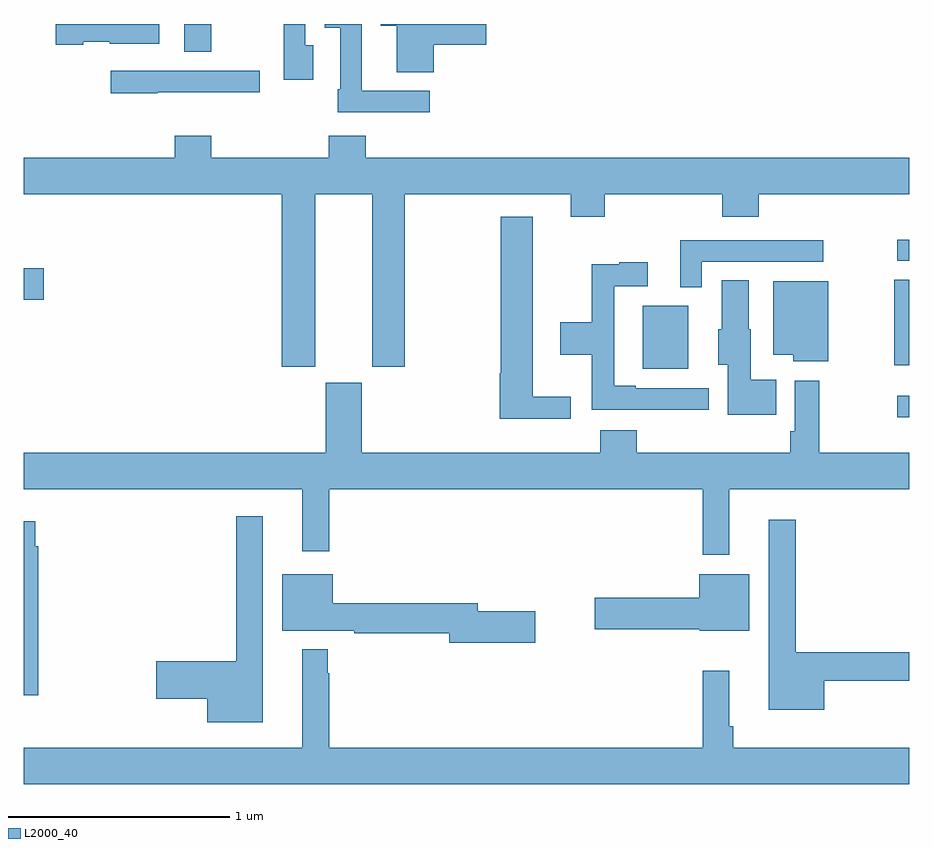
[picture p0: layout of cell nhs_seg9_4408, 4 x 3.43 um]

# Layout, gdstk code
import gdstk
lib = gdstk.Library(unit=1e-6, precision=1e-09)
def R(c, l, rs):  # rectangles x0, y0, x1, y1
    for r in rs: c.add(gdstk.rectangle(r[:2], r[2:], *l))
def P(c, l, *ps):  # polygons
    for p in ps: c.add(gdstk.Polygon(p, *l))
L2000_40 = (2000, 40)

nhs_seg9_4408 = lib.new_cell('nhs_seg9_4408')
R(nhs_seg9_4408, L2000_40, [(366.945,1216.724,367,1216.822), (365.795,1216.943,366.001,1217.227), (366.931,1216.958,367,1217.345), (363,1217.255,363.091,1217.397), (366.945,1217.43,367,1217.526), (363.725,1218.375,363.847,1218.5)])
P(nhs_seg9_4408, L2000_40, [(364.853,1218.407),(365.089,1218.407),(365.089,1218.5),(364.612,1218.5),(364.612,1218.491),(364.685,1218.491),(364.685,1218.283),(364.853,1218.283)],
  [(363.27,1218.419),(363.39,1218.419),(363.39,1218.41),(363.613,1218.41),(363.613,1218.5),(363.145,1218.5),(363.145,1218.407),(363.27,1218.407)],
  [(364.834,1218.198),(364.528,1218.198),(364.528,1218.395),(364.527,1218.395),(364.527,1218.5),(364.361,1218.5),(364.361,1218.484),(364.431,1218.484),(364.431,1218.205),(364.419,1218.205),(364.419,1218.102),(364.834,1218.102)],
  [(364.309,1218.405),(364.272,1218.405),(364.272,1218.5),(364.174,1218.5),(364.174,1218.249),(364.309,1218.249)],
  [(363.605,1218.191),(364.066,1218.191),(364.066,1218.288),(363.393,1218.288),(363.393,1218.187),(363.605,1218.187)],
  [(364.318,1217.732),(364.574,1217.732),(364.574,1216.953),(364.722,1216.953),(364.722,1217.732),(365.471,1217.732),(365.471,1217.63),(365.624,1217.63),(365.624,1217.732),(366.155,1217.732),(366.155,1217.63),(366.32,1217.63),(366.32,1217.732),(367,1217.732),(367,1217.896),(364.544,1217.896),(364.544,1217.995),(364.379,1217.995),(364.379,1217.896),(363.848,1217.896),(363.848,1217.995),(363.683,1217.995),(363.683,1217.896),(363,1217.896),(363,1217.732),(364.166,1217.732),(364.166,1216.953),(364.318,1216.953)],
  [(365.47,1216.817),(365.299,1216.817),(365.299,1217.629),(365.155,1217.629),(365.155,1216.922),(365.15,1216.922),(365.15,1216.718),(365.47,1216.718)],
  [(366.063,1217.427),(366.61,1217.427),(366.61,1217.523),(365.966,1217.523),(365.966,1217.312),(366.063,1217.312)],
  [(366.094,1216.854),(365.764,1216.854),(365.764,1216.867),(365.667,1216.867),(365.667,1217.316),(365.818,1217.316),(365.818,1217.425),(365.69,1217.425),(365.69,1217.414),(365.566,1217.414),(365.566,1217.154),(365.424,1217.154),(365.424,1217.006),(365.566,1217.006),(365.566,1216.758),(365.851,1216.758),(365.851,1216.757),(366.094,1216.757)],
  [(366.398,1216.894),(366.283,1216.894),(366.283,1217.121),(366.274,1217.121),(366.274,1217.342),(366.152,1217.342),(366.152,1217.121),(366.137,1217.121),(366.137,1216.962),(366.179,1216.962),(366.179,1216.736),(366.398,1216.736)],
  [(366.634,1217.338),(366.386,1217.338),(366.386,1217.006),(366.476,1217.006),(366.476,1216.976),(366.634,1216.976)],
  [(366.187,1216.4),(367,1216.4),(367,1216.564),(366.592,1216.564),(366.592,1216.888),(366.483,1216.888),(366.483,1216.66),(366.463,1216.66),(366.463,1216.564),(365.768,1216.564),(365.768,1216.666),(365.603,1216.666),(365.603,1216.564),(364.528,1216.564),(364.528,1216.881),(364.364,1216.881),(364.364,1216.564),(363,1216.564),(363,1216.4),(364.259,1216.4),(364.259,1216.119),(364.381,1216.119),(364.381,1216.4),(366.066,1216.4),(366.066,1216.104),(366.187,1216.104)],
  [(364.081,1216.276),(363.96,1216.276),(363.96,1215.623),(363.6,1215.623),(363.6,1215.452),(363.83,1215.452),(363.83,1215.347),(364.081,1215.347)],
  [(366.616,1215.534),(367,1215.534),(367,1215.662),(366.487,1215.662),(366.487,1216.261),(366.365,1216.261),(366.365,1215.404),(366.616,1215.404)],
  [(363.065,1216.142),(363.052,1216.142),(363.052,1216.255),(363,1216.255),(363,1215.468),(363.065,1215.468)],
  [(365.311,1215.848),(365.05,1215.848),(365.05,1215.884),(364.396,1215.884),(364.396,1216.015),(364.169,1216.015),(364.169,1215.761),(364.492,1215.761),(364.492,1215.748),(364.922,1215.748),(364.922,1215.706),(365.311,1215.706)],
  [(366.277,1216.015),(366.05,1216.015),(366.05,1215.909),(365.58,1215.909),(365.58,1215.767),(366.054,1215.767),(366.054,1215.761),(366.277,1215.761)],
  [(367,1215.232),(366.205,1215.232),(366.205,1215.328),(366.187,1215.328),(366.187,1215.58),(366.066,1215.58),(366.066,1215.232),(364.381,1215.232),(364.381,1215.569),(364.374,1215.569),(364.374,1215.676),(364.259,1215.676),(364.259,1215.232),(363,1215.232),(363,1215.068),(367,1215.068)])

lib.write_gds('nhs_seg9_4408.gds')
